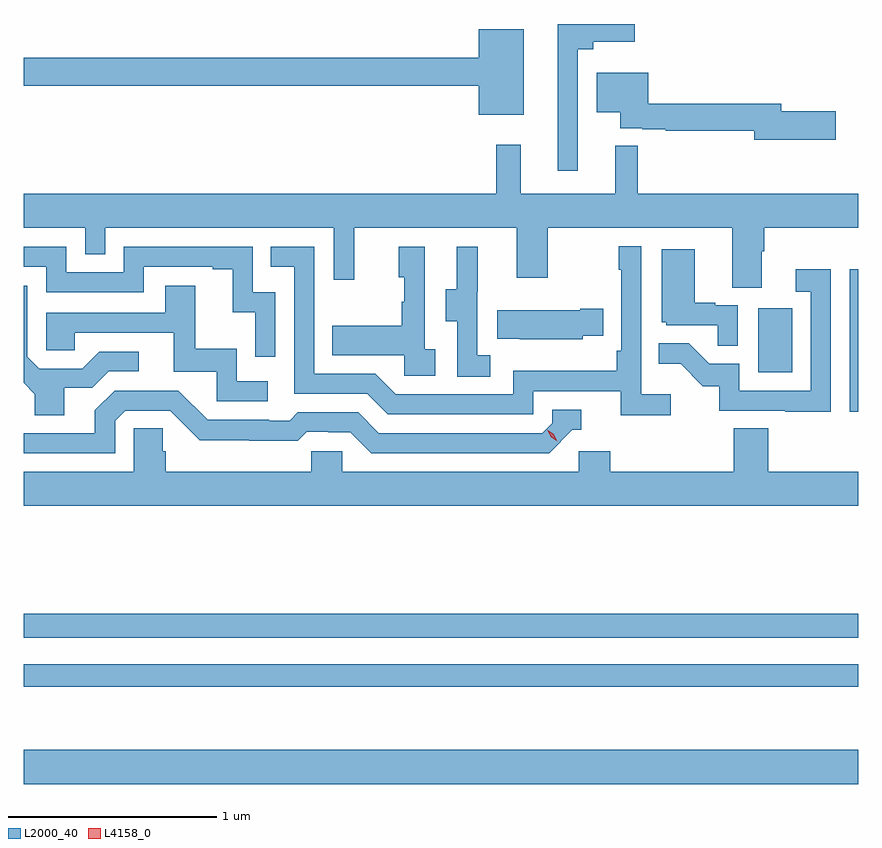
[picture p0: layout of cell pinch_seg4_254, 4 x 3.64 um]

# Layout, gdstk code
import gdstk
lib = gdstk.Library(unit=1e-6, precision=1e-09)
def R(c, l, rs):  # rectangles x0, y0, x1, y1
    for r in rs: c.add(gdstk.rectangle(r[:2], r[2:], *l))
def P(c, l, *ps):  # polygons
    for p in ps: c.add(gdstk.Polygon(p, *l))
L2000_40 = (2000, 40)
L4158_0 = (4158, 0)

pinch_seg4_254 = lib.new_cell('pinch_seg4_254')
R(pinch_seg4_254, L2000_40, [(922.193,822.128,926.193,822.292), (922.193,822.594,926.193,822.702), (922.193,822.828,926.193,822.944), (926.151,823.912,926.193,824.593), (925.712,824.1,925.876,824.407)])
P(pinch_seg4_254, L2000_40, [(924.849,825.647),(924.923,825.647),(924.923,825.683),(925.122,825.683),(925.122,825.769),(924.752,825.769),(924.752,825.066),(924.849,825.066)],
  [(924.589,825.745),(924.374,825.745),(924.374,825.608),(922.193,825.608),(922.193,825.472),(924.374,825.472),(924.374,825.335),(924.589,825.335)],
  [(926.083,825.35),(925.822,825.35),(925.822,825.386),(925.187,825.386),(925.187,825.535),(924.938,825.535),(924.938,825.347),(925.052,825.347),(925.052,825.27),(925.156,825.27),(925.156,825.264),(925.27,825.264),(925.27,825.258),(925.694,825.258),(925.694,825.215),(926.083,825.215)],
  [(925.729,824.68),(925.742,824.68),(925.742,824.792),(926.193,824.792),(926.193,824.956),(925.136,824.956),(925.136,825.185),(925.028,825.185),(925.028,824.956),(924.575,824.956),(924.575,825.19),(924.457,825.19),(924.457,824.956),(922.193,824.956),(922.193,824.792),(922.488,824.792),(922.488,824.665),(922.584,824.665),(922.584,824.792),(923.679,824.792),(923.679,824.544),(923.777,824.544),(923.777,824.792),(924.557,824.792),(924.557,824.553),(924.705,824.553),(924.705,824.792),(925.589,824.792),(925.589,824.506),(925.729,824.506)],
  [(925.294,823.996),(925.152,823.996),(925.152,824.704),(925.044,824.704),(925.044,824.591),(925.056,824.591),(925.056,824.203),(925.036,824.203),(925.036,824.107),(924.54,824.107),(924.54,823.995),(923.976,823.995),(923.877,824.094),(923.586,824.094),(923.586,824.703),(923.377,824.703),(923.377,824.607),(923.49,824.607),(923.49,823.998),(923.84,823.998),(923.939,823.899),(924.636,823.899),(924.636,824.01),(925.055,824.01),(925.055,823.894),(925.294,823.894)],
  [(923.4,824.484),(923.292,824.484),(923.292,824.703),(922.674,824.703),(922.674,824.58),(922.398,824.58),(922.398,824.703),(922.193,824.703),(922.193,824.607),(922.302,824.607),(922.302,824.484),(922.77,824.484),(922.77,824.607),(923.099,824.607),(923.099,824.595),(923.195,824.595),(923.195,824.387),(923.304,824.387),(923.304,824.175),(923.4,824.175)],
  [(924.43,824.183),(924.366,824.183),(924.366,824.487),(924.368,824.487),(924.368,824.701),(924.269,824.701),(924.269,824.499),(924.215,824.499),(924.215,824.344),(924.27,824.344),(924.27,824.08),(924.43,824.08)],
  [(924.166,824.21),(924.114,824.21),(924.114,824.701),(923.99,824.701),(923.99,824.556),(924.016,824.556),(924.016,824.438),(924.006,824.438),(924.006,824.323),(923.671,824.323),(923.671,824.183),(924.018,824.183),(924.018,824.085),(924.166,824.085)],
  [(925.614,824.421),(925.508,824.421),(925.508,824.434),(925.408,824.434),(925.408,824.689),(925.25,824.689),(925.25,824.34),(925.272,824.34),(925.272,824.325),(925.519,824.325),(925.519,824.227),(925.614,824.227)],
  [(926.061,824.593),(925.893,824.593),(925.893,824.487),(925.965,824.487),(925.965,824.013),(925.623,824.013),(925.623,824.142),(925.479,824.142),(925.381,824.24),(925.237,824.24),(925.237,824.141),(925.341,824.141),(925.448,824.034),(925.525,824.034),(925.525,823.917),(925.843,823.917),(925.843,823.912),(926.061,823.912)],
  [(922.387,824.026),(922.522,824.026),(922.602,824.106),(922.744,824.106),(922.744,824.199),(922.556,824.199),(922.475,824.118),(922.269,824.118),(922.212,824.175),(922.212,824.515),(922.193,824.515),(922.193,824.05),(922.247,823.996),(922.247,823.894),(922.387,823.894)],
  [(923.362,824.058),(923.214,824.058),(923.214,824.212),(923.015,824.212),(923.015,824.515),(922.871,824.515),(922.871,824.385),(922.302,824.385),(922.302,824.205),(922.439,824.205),(922.439,824.289),(922.913,824.289),(922.913,824.103),(923.118,824.103),(923.118,823.962),(923.362,823.962)],
  [(924.873,824.276),(924.971,824.276),(924.971,824.406),(924.86,824.406),(924.86,824.398),(924.463,824.398),(924.463,824.261),(924.571,824.261),(924.571,824.258),(924.873,824.258)],
  [(922.632,823.869),(922.68,823.917),(922.896,823.917),(923.038,823.775),(923.274,823.775),(923.274,823.773),(923.507,823.773),(923.549,823.815),(923.652,823.815),(923.652,823.812),(923.759,823.812),(923.858,823.713),(924.711,823.713),(924.822,823.824),(924.865,823.824),(924.865,823.92),(924.726,823.92),(924.726,823.857),(924.678,823.809),(923.895,823.809),(923.796,823.908),(923.507,823.908),(923.468,823.869),(923.369,823.869),(923.369,823.872),(923.076,823.872),(922.935,824.013),(922.629,824.013),(922.535,823.919),(922.535,823.809),(922.193,823.809),(922.193,823.713),(922.632,823.713)],
  [(926.193,823.624),(925.76,823.624),(925.76,823.832),(925.595,823.832),(925.595,823.624),(925.004,823.624),(925.004,823.722),(924.852,823.722),(924.852,823.624),(923.721,823.624),(923.721,823.722),(923.571,823.722),(923.571,823.624),(922.874,823.624),(922.874,823.722),(922.859,823.722),(922.859,823.832),(922.722,823.832),(922.722,823.624),(922.193,823.624),(922.193,823.46),(926.193,823.46)])
P(pinch_seg4_254, L4158_0, [(924.749,823.771),(924.718,823.791),(924.703,823.824),(924.703,823.824),(924.703,823.824),(924.734,823.804),(924.749,823.771),(924.749,823.771)])

lib.write_gds('pinch_seg4_254.gds')
